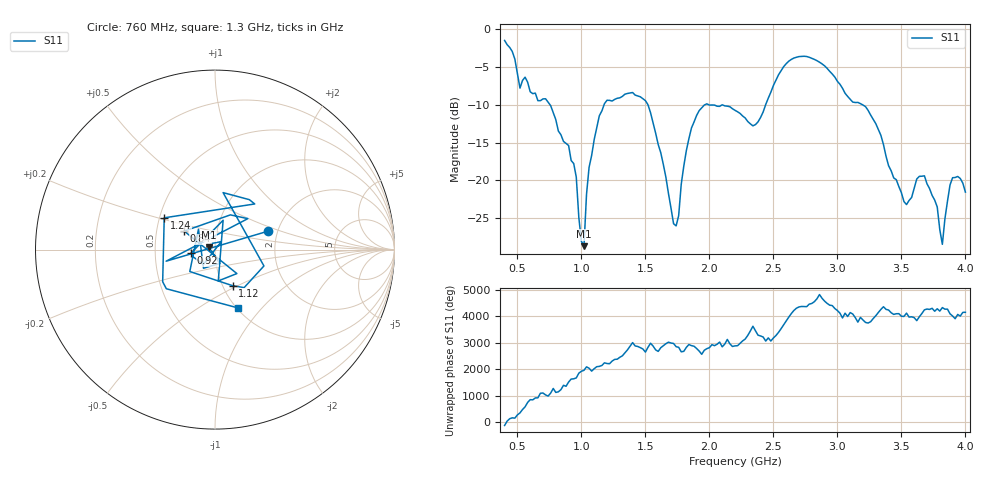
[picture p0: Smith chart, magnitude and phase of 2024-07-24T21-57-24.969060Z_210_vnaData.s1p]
!Created with skrf (http://scikit-rf.org).
# Hz S RI R 50.0
!freq ReS11 ImS11
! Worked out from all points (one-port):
!   181 points, 400 MHz to 4 GHz, reference 50 ohm
!   lowest |S11| = -28.7 dB at 1.02 GHz (marker M1), VSWR 1.08, Z = 46.7 + j1.22 ohm
!   |S11| at or under -10 dB: 1.519 GHz to 1.968 GHz (448.4 MHz wide, 25.7 % of centre); 1.992 GHz to 2.44 GHz (447.8 MHz wide, 20.2 % of centre); 3.194 GHz to end of sweep (the widest 3 of 4)
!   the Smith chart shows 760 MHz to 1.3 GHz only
!   S11 on the Smith chart (normalised r, x): 760 MHz: 1.77, +0.40; 840 MHz: 0.69, +0.15; 920 MHz: 0.76, -0.03; 1.12 GHz: 1.11, -0.47; 1.24 GHz: 0.53, +0.21; 1.3 GHz: 1.02, -0.75
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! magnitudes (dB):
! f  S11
! 400 MHz  -1.5
! 520 MHz  -7.8
! 760 MHz  -10.1
! 840 MHz  -14.0
! 860 MHz  -14.9
! 920 MHz  -17.4
! 960 MHz  -19.6
! 1.02 GHz  -28.7
! 1.06 GHz  -18.3
! 1.12 GHz  -13.0
! 1.24 GHz  -9.5
! 1.3 GHz  -9.1
! 1.52 GHz  -10.0
! 1.72 GHz  -25.7
! 1.76 GHz  -24.6
! 1.82 GHz  -16.1
! 1.92 GHz  -10.8
! 2.2 GHz  -10.8
! 2.36 GHz  -12.6
! 2.66 GHz  -3.9
! 3.1 GHz  -9.3
! 3.24 GHz  -10.8
! 3.56 GHz  -22.6
! 3.68 GHz  -19.4
! 3.78 GHz  -23.5
! 3.82 GHz  -28.4
! 3.9 GHz  -19.6
! 4 GHz  -21.5
